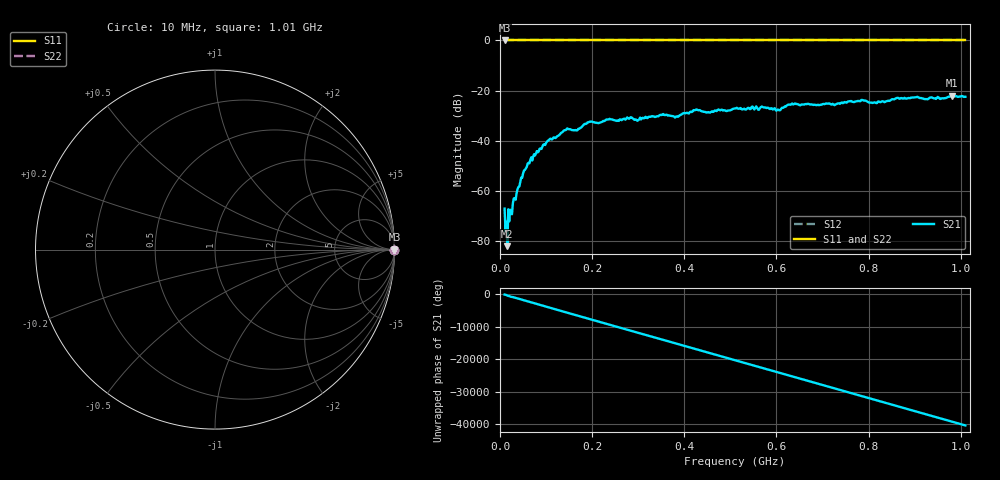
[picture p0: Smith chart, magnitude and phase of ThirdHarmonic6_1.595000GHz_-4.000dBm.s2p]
! 8/16/2025 7:00:14 PM
! C:\ANRITSUVNA\TEMP\TEMP.S2P
! CHANNEL.1
! TR.MEASUREMENT
! RAW.DATA
! RF.CORRECTION.OFF
! AVERAGING.OFF
! IF.BANDWIDTH: 5KHZ
! SWEEPTYPE:  FREQ.SWEEP(Linear)
! Reference Plane Port Info
! PORT:  PORT1  PORT2
! DISTANCE:  0  m  0  m
! TIME:  0  s  0  s
! PHASE.OFFSET:  0  deg.  0  deg.
! LOSS:  0  dB  0  dB
! REF.LOSS:  0  dB  0  dB
! REF.FREQ:  0  Hz  0  Hz
! Power Info
! POWER:  -20  dBm  -20  dBm
! EFF.POWER:  -20  dBm  -20  dBm
! SOURCE.ATTEN:  0  dB  0  dB
! TEST.ATTEN:  0  dB  0  dB
# GHZ S RI R 50.0
! FREQ.GHZ  S11RE  S11IM  S21RE  S21IM  S12RE  S12IM  S22RE  S22IM
!; PortSelection: Port_12
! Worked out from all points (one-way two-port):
!   501 points, 10 MHz to 1.01 GHz, reference 50 ohm
!   highest |S21| = -22.02 dB at 980 MHz (marker M1); lowest = -81.9 dB at 16 MHz (marker M2)
!   lowest |S11| = 0.0 dB at 10 MHz (marker M3)
!   |S11| at or under -10 dB: nowhere
!   |S22| runs from 0.0 to 0.0 dB; largest |S21 - S12| = 1.1
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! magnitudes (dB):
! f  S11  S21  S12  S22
! 10 MHz  0.0  -66.9  0.0  0.0
! 12 MHz  0.0  -75.9  0.0  0.0
! 16 MHz  0.0  -81.9  0.0  0.0
! 48 MHz  0.0  -54.7  0.0  0.0
! 70 MHz  0.0  -47.8  0.0  0.0
! 106 MHz  0.0  -39.7  0.0  0.0
! 142 MHz  0.0  -35.7  0.0  0.0
! 164 MHz  0.0  -35.6  0.0  0.0
! 178 MHz  0.0  -34.3  0.0  0.0
! 234 MHz  0.0  -31.5  0.0  0.0
! 296 MHz  0.0  -31.6  0.0  0.0
! 344 MHz  0.0  -30.2  0.0  0.0
! 382 MHz  0.0  -30.3  0.0  0.0
! 424 MHz  0.0  -27.7  0.0  0.0
! 452 MHz  0.0  -28.5  0.0  0.0
! 510 MHz  0.0  -27.0  0.0  0.0
! 604 MHz  0.0  -27.6  0.0  0.0
! 630 MHz  0.0  -25.6  0.0  0.0
! 678 MHz  0.0  -25.6  0.0  0.0
! 844 MHz  0.0  -24.1  0.0  0.0
! 980 MHz  0.0  -22.0  0.0  0.0
! 1.01 GHz  0.0  -22.4  0.0  0.0
